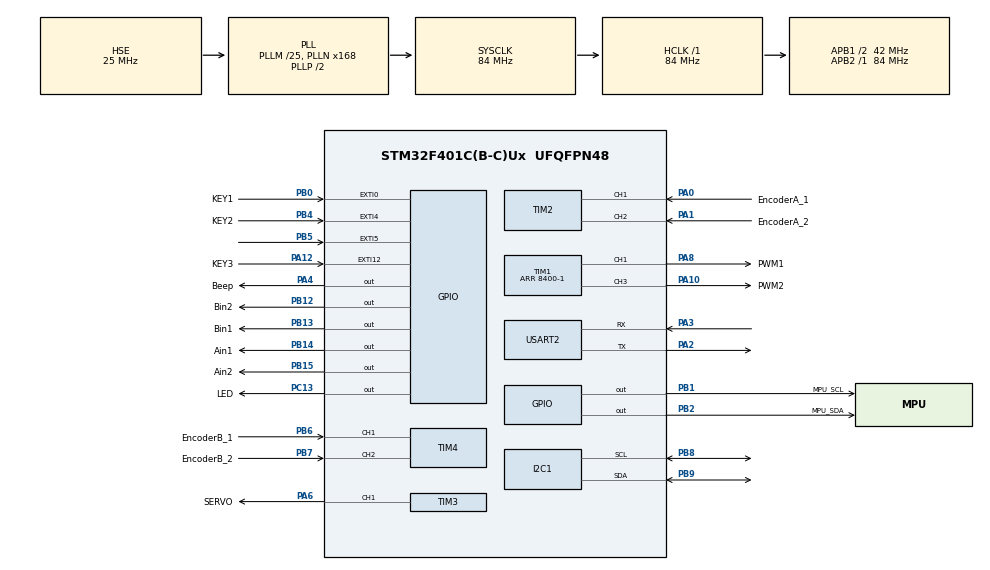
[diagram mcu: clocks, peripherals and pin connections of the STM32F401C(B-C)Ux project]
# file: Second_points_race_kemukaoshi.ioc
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Mcu.Family=STM32F4
Mcu.Name=STM32F401C(B-C)Ux
Mcu.Package=UFQFPN48
NVIC.EXTI0_IRQn=true\:0\:0\:false\:false\:true\:true\:true\:true
NVIC.EXTI15_10_IRQn=true\:0\:0\:false\:false\:true\:true\:true\:true
NVIC.EXTI4_IRQn=true\:0\:0\:false\:false\:true\:true\:true\:true
NVIC.EXTI9_5_IRQn=true\:0\:0\:false\:false\:true\:true\:true\:true
NVIC.PriorityGroup=NVIC_PRIORITYGROUP_4
NVIC.USART2_IRQn=true\:0\:0\:false\:false\:true\:true\:true\:true
PA0-WKUP.GPIO_Label=EncoderA_1
PA0-WKUP.Signal=S_TIM2_CH1_ETR
PA1.GPIO_Label=EncoderA_2
PA1.Signal=S_TIM2_CH2
PA10.GPIO_Label=PWM2
PA10.Signal=S_TIM1_CH3
PA12.GPIO_Label=KEY3
PA12.GPIO_ModeDefaultEXTI=GPIO_MODE_IT_FALLING
PA12.GPIO_PuPd=GPIO_PULLDOWN
PA12.Signal=GPXTI12
PA13.Mode=Serial_Wire
PA13.Signal=SYS_JTMS-SWDIO
PA14.Mode=Serial_Wire
PA14.Signal=SYS_JTCK-SWCLK
PA2.Mode=Asynchronous
PA2.Signal=USART2_TX
PA3.Mode=Asynchronous
PA3.Signal=USART2_RX
PA4.GPIO_Label=Beep
PA4.GPIO_PuPd=GPIO_PULLDOWN
PA4.Signal=GPIO_Output
PA6.GPIO_Label=SERVO
PA6.Signal=S_TIM3_CH1
PA8.GPIO_Label=PWM1
PA8.Signal=S_TIM1_CH1
PB0.GPIO_Label=KEY1
PB0.GPIO_ModeDefaultEXTI=GPIO_MODE_IT_FALLING
PB0.GPIO_PuPd=GPIO_PULLUP
PB0.Signal=GPXTI0
PB1.GPIO_Label=MPU_SCL
PB1.GPIO_ModeDefaultOutputPP=GPIO_MODE_OUTPUT_OD
PB1.GPIO_PuPd=GPIO_PULLUP
PB1.Signal=GPIO_Output
PB12.GPIO_Label=Bin2
PB12.Signal=GPIO_Output
PB13.GPIO_Label=Bin1
PB13.Signal=GPIO_Output
PB14.GPIO_Label=Ain1
PB14.Signal=GPIO_Output
PB15.GPIO_Label=Ain2
PB15.Signal=GPIO_Output
PB2.GPIO_Label=MPU_SDA
PB2.GPIO_ModeDefaultOutputPP=GPIO_MODE_OUTPUT_OD
PB2.GPIO_PuPd=GPIO_PULLUP
PB2.Signal=GPIO_Output
PB4.GPIO_Label=KEY2
PB4.GPIO_ModeDefaultEXTI=GPIO_MODE_IT_FALLING
PB4.GPIO_PuPd=GPIO_PULLUP
PB4.Signal=GPXTI4
PB5.GPIO_ModeDefaultEXTI=GPIO_MODE_IT_FALLING
PB5.GPIO_PuPd=GPIO_PULLUP
PB5.Signal=GPXTI5
PB6.GPIO_Label=EncoderB_1
PB6.Signal=S_TIM4_CH1
PB7.GPIO_Label=EncoderB_2
PB7.Signal=S_TIM4_CH2
PB8.Mode=I2C
PB8.Signal=I2C1_SCL
PB9.Mode=I2C
PB9.Signal=I2C1_SDA
PC13-ANTI_TAMP.GPIO_Label=LED
PC13-ANTI_TAMP.GPIO_PuPd=GPIO_PULLDOWN
PC13-ANTI_TAMP.Signal=GPIO_Output
PH0\ -\ OSC_IN.Mode=HSE-External-Oscillator
PH0\ -\ OSC_IN.Signal=RCC_OSC_IN
PH1\ -\ OSC_OUT.Mode=HSE-External-Oscillator
PH1\ -\ OSC_OUT.Signal=RCC_OSC_OUT
ProjectManager.HeapSize=0x200
ProjectManager.StackSize=0x400
ProjectManager.TargetToolchain=MDK-ARM V5.32
RCC.48MHZClocksFreq_Value=42000000
RCC.AHBFreq_Value=84000000
RCC.APB1CLKDivider=RCC_HCLK_DIV2
RCC.APB1Freq_Value=42000000
RCC.APB1TimFreq_Value=84000000
RCC.APB2Freq_Value=84000000
RCC.APB2TimFreq_Value=84000000
RCC.CortexFreq_Value=84000000
RCC.HCLKFreq_Value=84000000
RCC.HSE_VALUE=25000000
RCC.HSI_VALUE=16000000
RCC.LSE_VALUE=32768
RCC.PLLM=25
RCC.PLLN=168
RCC.PLLSourceVirtual=RCC_PLLSOURCE_HSE
RCC.SYSCLKFreq_VALUE=84000000
RCC.SYSCLKSource=RCC_SYSCLKSOURCE_PLLCLK
RCC.VCOOutputFreq_Value=168000000
SH.S_TIM1_CH1.0=TIM1_CH1,PWM Generation1 CH1
SH.S_TIM1_CH3.0=TIM1_CH3,PWM Generation3 CH3
SH.S_TIM2_CH1_ETR.0=TIM2_CH1,Encoder_Interface
SH.S_TIM2_CH2.0=TIM2_CH2,Encoder_Interface
SH.S_TIM3_CH1.0=TIM3_CH1,PWM Generation1 CH1
SH.S_TIM4_CH1.0=TIM4_CH1,Encoder_Interface
SH.S_TIM4_CH2.0=TIM4_CH2,Encoder_Interface
TIM1.Channel-PWM\ Generation1\ CH1=TIM_CHANNEL_1
TIM1.Channel-PWM\ Generation3\ CH3=TIM_CHANNEL_3
TIM1.Period=8400-1
TIM3.Channel-PWM\ Generation1\ CH1=TIM_CHANNEL_1
TIM3.Period=1999
TIM3.Prescaler=840-1
USART2.VirtualMode=VM_ASYNC
VP_TIM1_VS_ClockSourceINT.Mode=Internal
VP_TIM3_VS_ClockSourceINT.Mode=Internal
VP_TIM9_VS_ClockSourceINT.Mode=Internal
board=custom

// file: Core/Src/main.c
/* USER CODE BEGIN Header */
/**
  ******************************************************************************
  * @file           : main.c
  * @brief          : Main program body
  ******************************************************************************
  * @attention
  *
  * Copyright (c) 2025 STMicroelectronics.
  * All rights reserved.
  *
  * This software is licensed under terms that can be found in the LICENSE file
  * in the root directory of this software component.
  * If no LICENSE file comes with this software, it is provided AS-IS.
  *
  ******************************************************************************
  */
/* USER CODE END Header */
#include "main.h"
#include "i2c.h"
#include "tim.h"
#include "usart.h"
#include "gpio.h"

/* USER CODE BEGIN Includes */
#include "uart.h"
#include "control.h"
#include "mpu6050.h"
#include "Print.h"
#include "motor.h"
#include "key.h"
/* USER CODE END Includes */

/* USER CODE BEGIN PV */
extern uint8_t USART2_RX_BUF[USART2_RX_LEN];
/* USER CODE END PV */

void SystemClock_Config(void);

int main(void)
{

  /* MCU Configuration--------------------------------------------------------*/

  /* Reset of all peripherals, Initializes the Flash interface and the Systick. */
  HAL_Init();

  /* Configure the system clock */
  SystemClock_Config();

  /* Initialize all configured peripherals */
  MX_GPIO_Init();
  MX_TIM3_Init();
  MX_TIM1_Init();
  MX_USART2_UART_Init();
  MX_TIM2_Init();
  MX_TIM4_Init();
  MX_I2C1_Init();
  MX_TIM9_Init();
  /* USER CODE BEGIN 2 */
	MPU_Init();
	HAL_Delay(100);
	HAL_UART_Receive_IT(&huart2, USART2_RX_BUF, 1);
	HAL_TIM_Base_Start(&htim1);
	HAL_TIM_Base_Start(&htim2);
	HAL_TIM_Base_Start(&htim3);
	HAL_TIM_Base_Start(&htim4);
	HAL_TIM_Base_Start(&htim9);
	HAL_TIM_PWM_Start(&htim1,TIM_CHANNEL_1);
	HAL_TIM_PWM_Start(&htim1,TIM_CHANNEL_3);
	HAL_TIM_PWM_Start(&htim3,TIM_CHANNEL_1);
	HAL_TIM_Encoder_Start(&htim2,TIM_CHANNEL_ALL);
	HAL_TIM_Encoder_Start(&htim4,TIM_CHANNEL_ALL);

	Param.Motor2_PWM_Out = 	5000;
	Param.Motor1_PWM_Out = 	5000;
	Param.Servo_Target_Position = 150;

//	while(Flag.Run_Step == 0)
//	{
//	Kinematic_Analysis(0,0,yaw);
//	while(Param.ModeChoose==0){;}
//	Flag.Run_Step=1;
//	Flag.Is_Go_straight=1;
//	}
	Param.ModeChoose = 1;

	switch(Param.ModeChoose)
	{
		case BACK_PACKING:Usart2_SendString("startcnt1");break;
		case SIDE_PACKING:Usart2_SendString("startcnt2");break;
		case BACK_SIDE_PACKING:Usart2_SendString("startcnt1");break;
		default:break;
	}

  /* USER CODE END 2 */

  /* Infinite loop */
  /* USER CODE BEGIN WHILE */
  while (1)
  {
		Control_Proc();
    /* USER CODE END WHILE */

  }
}

void SystemClock_Config(void)
{
  RCC_OscInitTypeDef RCC_OscInitStruct = {0};
  RCC_ClkInitTypeDef RCC_ClkInitStruct = {0};

  /** Configure the main internal regulator output voltage
  */
  __HAL_RCC_PWR_CLK_ENABLE();
  __HAL_PWR_VOLTAGESCALING_CONFIG(PWR_REGULATOR_VOLTAGE_SCALE2);

  /** Initializes the RCC Oscillators according to the specified parameters
  * in the RCC_OscInitTypeDef structure.
  */
  RCC_OscInitStruct.OscillatorType = RCC_OSCILLATORTYPE_HSE;
  RCC_OscInitStruct.HSEState = RCC_HSE_ON;
  RCC_OscInitStruct.PLL.PLLState = RCC_PLL_ON;
  RCC_OscInitStruct.PLL.PLLSource = RCC_PLLSOURCE_HSE;
  RCC_OscInitStruct.PLL.PLLM = 25;
  RCC_OscInitStruct.PLL.PLLN = 168;
  RCC_OscInitStruct.PLL.PLLP = RCC_PLLP_DIV2;
  RCC_OscInitStruct.PLL.PLLQ = 4;
  if (HAL_RCC_OscConfig(&RCC_OscInitStruct) != HAL_OK)
  {
    Error_Handler();
  }

  /** Initializes the CPU, AHB and APB buses clocks
  */
  RCC_ClkInitStruct.ClockType = RCC_CLOCKTYPE_HCLK|RCC_CLOCKTYPE_SYSCLK
                              |RCC_CLOCKTYPE_PCLK1|RCC_CLOCKTYPE_PCLK2;
  RCC_ClkInitStruct.SYSCLKSource = RCC_SYSCLKSOURCE_PLLCLK;
  RCC_ClkInitStruct.AHBCLKDivider = RCC_SYSCLK_DIV1;
  RCC_ClkInitStruct.APB1CLKDivider = RCC_HCLK_DIV2;
  RCC_ClkInitStruct.APB2CLKDivider = RCC_HCLK_DIV1;

  if (HAL_RCC_ClockConfig(&RCC_ClkInitStruct, FLASH_LATENCY_2) != HAL_OK)
  {
    Error_Handler();
  }
}

void Error_Handler(void)
{
  __disable_irq();
  while (1)
  {
  }
}
